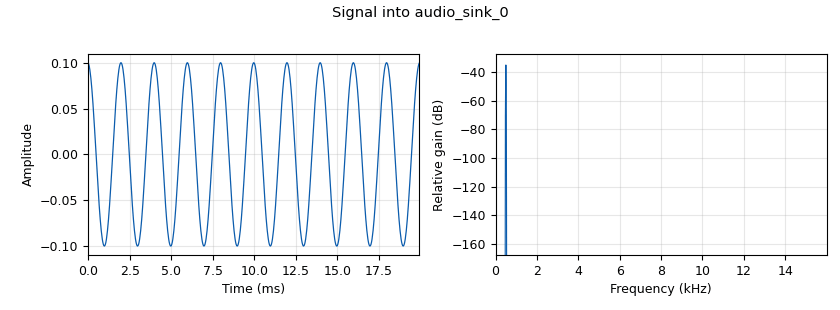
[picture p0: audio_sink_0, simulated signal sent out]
<?xml version='1.0' encoding='utf-8'?>
<flow_graph>
<block>
<key>options</key>
<param><key>id</key><value>audioplay1</value></param>
<param><key>generate_options</key><value>wx_gui</value></param>
<param><key>category</key><value>Custom</value></param>
</block>
<block>
<key>variable</key>
<param><key>id</key><value>samp_rate</value></param>
<param><key>value</key><value>32000</value></param>
</block>
<block>
<key>audio_sink</key>
<param><key>id</key><value>audio_sink_0</value></param>
<param><key>samp_rate</key><value>samp_rate</value></param>
</block>
<block>
<key>blocks_multiply_const_vxx</key>
<param><key>id</key><value>blocks_multiply_const_vxx_0</value></param>
<param><key>type</key><value>float</value></param>
<param><key>const</key><value>0.5</value></param>
</block>
<block>
<key>analog_sig_source_x</key>
<param><key>id</key><value>analog_sig_source_x_0</value></param>
<param><key>type</key><value>float</value></param>
<param><key>samp_rate</key><value>samp_rate</value></param>
<param><key>waveform</key><value>analog.GR_COS_WAVE</value></param>
<param><key>freq</key><value>500</value></param>
<param><key>amp</key><value>0.2</value></param>
<param><key>offset</key><value>0</value></param>
</block>
<connection><source_block_id>blocks_multiply_const_vxx_0</source_block_id><sink_block_id>audio_sink_0</sink_block_id><source_key>0</source_key><sink_key>0</sink_key></connection>
<connection><source_block_id>analog_sig_source_x_0</source_block_id><sink_block_id>blocks_multiply_const_vxx_0</sink_block_id><source_key>0</source_key><sink_key>0</sink_key></connection>
</flow_graph>
